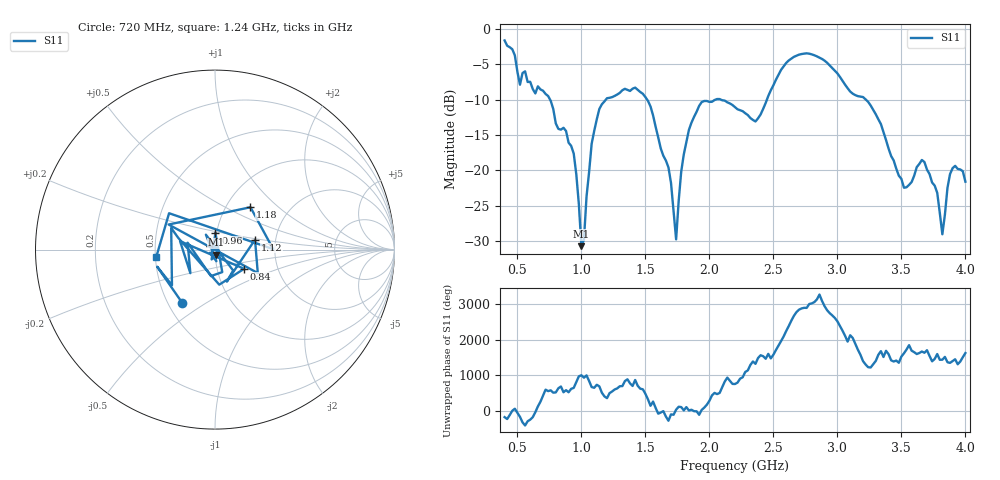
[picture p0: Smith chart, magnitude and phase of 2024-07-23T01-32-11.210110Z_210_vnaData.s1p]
!Created with skrf (http://scikit-rf.org).
# Hz S RI R 50.0
!freq ReS11 ImS11
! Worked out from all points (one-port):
!   181 points, 400 MHz to 4 GHz, reference 50 ohm
!   lowest |S11| = -30.7 dB at 1 GHz (marker M1), VSWR 1.06, Z = 50.5 - j2.9 ohm
!   |S11| at or under -10 dB: 755.7 MHz to 1.19 GHz (434.7 MHz wide, 44.7 % of centre); 1.514 GHz to 2.046 GHz (532.3 MHz wide, 29.9 % of centre); 3.223 GHz to end of sweep (the widest 3 of 4)
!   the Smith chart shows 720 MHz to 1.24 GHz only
!   S11 on the Smith chart (normalised r, x): 720 MHz: 0.59, -0.40; 840 MHz: 1.35, -0.30; 960 MHz: 0.99, +0.19; 1.12 GHz: 1.56, +0.18; 1.18 GHz: 1.29, +0.67; 1.24 GHz: 0.51, -0.05
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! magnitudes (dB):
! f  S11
! 400 MHz  -1.6
! 520 MHz  -7.9
! 720 MHz  -9.2
! 840 MHz  -14.2
! 860 MHz  -14.0
! 960 MHz  -20.5
! 1 GHz  -30.7
! 1.12 GHz  -12.8
! 1.18 GHz  -10.2
! 1.24 GHz  -9.6
! 1.3 GHz  -9.0
! 1.52 GHz  -10.2
! 1.68 GHz  -19.6
! 1.74 GHz  -29.7
! 1.76 GHz  -24.3
! 1.84 GHz  -14.3
! 1.92 GHz  -10.9
! 2.2 GHz  -11.0
! 2.36 GHz  -13.1
! 2.66 GHz  -3.9
! 3.1 GHz  -8.8
! 3.26 GHz  -10.8
! 3.56 GHz  -22.0
! 3.68 GHz  -18.8
! 3.78 GHz  -23.2
! 3.82 GHz  -29.0
! 3.9 GHz  -19.7
! 4 GHz  -21.6
